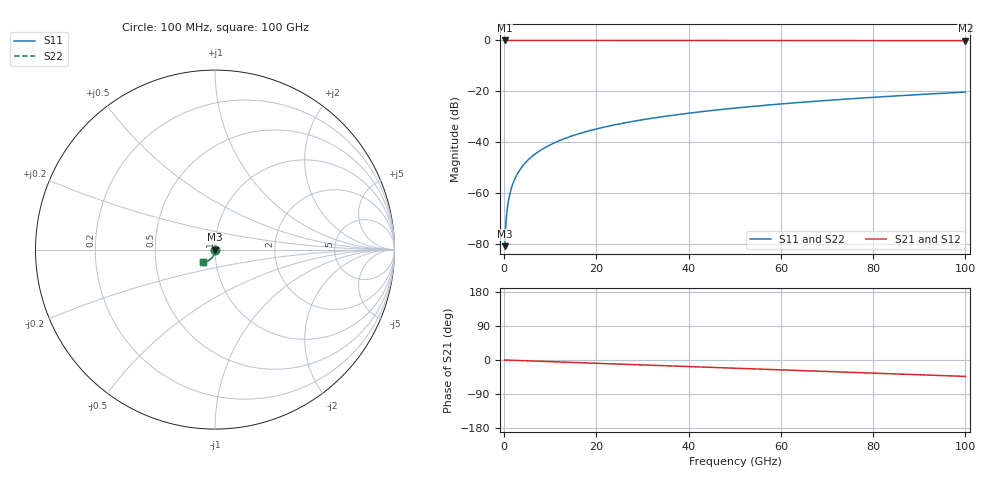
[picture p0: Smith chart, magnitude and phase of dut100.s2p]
! Touchstone file exported from HFSS 2026.1.0
!  File:  C:/ffzhzh/LocalFiles/Ansys_Project_Files/temp_train_TSV_100_1783505757_44152.aedt
!  Generated:  06:17:06 PM Jul  8, 2026
!  Design:  TSV
!  Project:  temp_train_TSV_100_1783505757_44152
! Variables:
!  h_bsmrdl = 2um
!  h_ox = 20um
!  h_rdl = 5um
!  h_sub = 86.1um
!  h_tmrdl = 5um
!  h_tsv = 86.1um
!  h_via = 3um
!  l_bsmrdl = 300um
!  l_sub = 429.36um
!  l_tmrdl = 200um
!  m_sub = 200um
!  pitch = 52.11um
!  r_tsv = 14.68um
!  s_tmrdl = 10um
!  w_bsmrdl = 18um
!  w_sub = 500um
!  w_tmrdl = 12um
!  x_tsv_center1 = 206um
!  x_tsv_center2 = 524um
!  x_tsv_center3 = 736um
!  x_tsv_center4 = 1054um
!  x_tsv_center5 = 1266um
!  x_tsv_center6 = 1584um
# GHz S MA R 50.000000
! Terminal data exported
! Port[1] = TSV1_1_T1
! Port[2] = TSV1_1_T2
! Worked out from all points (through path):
!   1000 points, 100 MHz to 100 GHz, reference 50 ohm
!   highest |S21| = 0.00 dB at 100 MHz (marker M1); lowest = -0.1 dB at 100 GHz (marker M2)
!   group delay of S21, straight-line fit = 1.2 ps
!   lowest |S11| = -80.8 dB at 100 MHz (marker M3), VSWR 1.00, Z = 50 - j0.0047 ohm
!   |S11| at or under -10 dB: start of sweep to end of sweep
!   |S22| runs from -80.8 to -20.3 dB; largest |S21 - S12| = 6.1e-15
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0.1  9.088e-05 -31.2  0.9999 -0.0  0.9999 -0.0  9.088e-05 -31.2
! Gamma 0 0 0 0
! Port Impedance 50 0 50 0
0.4  0.0002709 -58.9  0.9999 -0.2  0.9999 -0.2  0.0002709 -58.9
0.7  0.0005119 -67.4  0.9998 -0.3  0.9998 -0.3  0.0005119 -67.4
0.9  0.0006803 -70.9  0.9998 -0.4  0.9998 -0.4  0.0006803 -70.8
1.1  0.0008504 -73.4  0.9997 -0.5  0.9997 -0.5  0.0008504 -73.4
1.4  0.001107 -76.0  0.9997 -0.6  0.9997 -0.6  0.001107 -76.0
1.8  0.001452 -78.3  0.9997 -0.8  0.9997 -0.8  0.001452 -78.3
2.4  0.001976 -80.5  0.9996 -1.1  0.9996 -1.1  0.001976 -80.5
3.1  0.002597 -82.2  0.9996 -1.4  0.9996 -1.4  0.002597 -82.2
3.9  0.003316 -83.6  0.9995 -1.7  0.9995 -1.7  0.003316 -83.6
4.9  0.004224 -85.0  0.9995 -2.1  0.9995 -2.1  0.004224 -85.0
6  0.005228 -86.3  0.9994 -2.6  0.9994 -2.6  0.005228 -86.3
8.8  0.007802 -88.7  0.9993 -3.8  0.9993 -3.8  0.007802 -88.7
12.4  0.01114 -91.1  0.9991 -5.4  0.9991 -5.4  0.01115 -91.0
16.8  0.01525 -93.6  0.9989 -7.3  0.9989 -7.3  0.01526 -93.6
24.1  0.02212 -97.4  0.9986 -10.4  0.9986 -10.4  0.02212 -97.4
33.4  0.03093 -101.9  0.9981 -14.4  0.9981 -14.4  0.03093 -101.9
41.2  0.03837 -105.5  0.9977 -17.8  0.9977 -17.8  0.03837 -105.5
50.1  0.04693 -109.6  0.9971 -21.6  0.9971 -21.6  0.04693 -109.6
66.7  0.06312 -117.2  0.9959 -28.8  0.9959 -28.8  0.06312 -117.1
83.4  0.07979 -124.7  0.9943 -36.0  0.9943 -36.0  0.07979 -124.6
100  0.09685 -132.3  0.9923 -43.3  0.9923 -43.3  0.09685 -132.2
